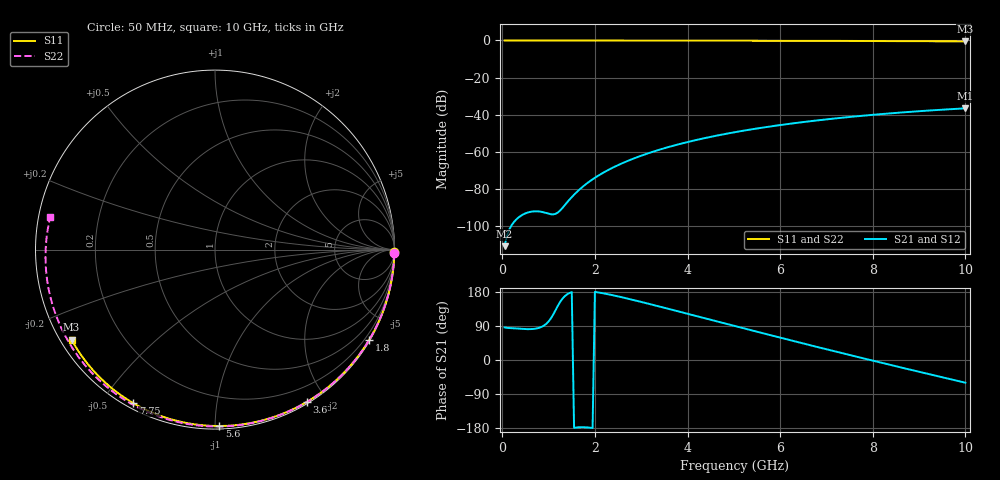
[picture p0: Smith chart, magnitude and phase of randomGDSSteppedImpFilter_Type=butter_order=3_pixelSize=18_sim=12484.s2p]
! freq	dB(S11)	phase(S11)	dB(S12)	phase(S12)
!  dB(S21)	phase(S21)	dB(S22)	phase(S22)
!S-par simulation data
#  GHz  S  DB  R 50
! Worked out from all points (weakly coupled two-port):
!   200 points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, 50 MHz to 10 GHz, reference 50 ohm
!   highest |S21| = -36.55 dB at 10 GHz (marker M1); lowest = -110.7 dB at 50 MHz (marker M2)
!   lowest |S11| = -0.5 dB at 10 GHz (marker M3), VSWR 34.54, Z = 1.57 - j14.4 ohm
!   |S11| at or under -10 dB: nowhere
!   |S22| runs from -0.6 to 0.0 dB; largest |S21 - S12| = 0
!   S11 on the Smith chart (normalised r, x): 50 MHz: open; 1.8 GHz: 0.03, -3.70; 3.6 GHz: 0.02, -1.77; 5.6 GHz: 0.02, -1.02; 7.75 GHz: 0.02, -0.60; 10 GHz: 0.03, -0.29
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0.05  -0.00 -0.8  -110.72 86.0  -110.72 86.0  -0.00 -1.1
0.45  -0.01 -7.6  -93.65 81.7  -93.65 81.7  -0.02 -10.2
0.8  -0.02 -13.6  -92.05 85.1  -92.05 85.1  -0.02 -18.1
1.2  -0.03 -20.3  -92.60 143.0  -92.60 143.0  -0.03 -27.1
1.65  -0.04 -27.8  -80.60 -177.5  -80.60 -177.5  -0.05 -37.0
1.7  -0.04 -28.6  -79.49 -177.2  -79.49 -177.2  -0.05 -38.0
1.75  -0.04 -29.4  -78.44 -177.3  -78.44 -177.3  -0.05 -39.1
1.8  -0.04 -30.2  -77.45 -177.6  -77.45 -177.6  -0.05 -40.2
2.1  -0.05 -35.1  -72.34 177.8  -72.34 177.8  -0.06 -46.7
2.5  -0.05 -41.6  -67.09 167.8  -67.09 167.8  -0.07 -55.1
2.9  -0.06 -48.0  -62.94 156.3  -62.94 156.3  -0.08 -63.4
3.4  -0.07 -55.9  -58.74 140.9  -58.74 140.9  -0.10 -73.5
3.6  -0.08 -59.0  -57.28 134.7  -57.28 134.7  -0.10 -77.5
4.3  -0.10 -69.6  -52.94 112.5  -52.94 112.5  -0.13 -91.0
5.05  -0.12 -80.7  -49.25 88.8  -49.25 88.8  -0.16 -104.9
5.6  -0.15 -88.6  -46.99 71.5  -46.99 71.5  -0.19 -114.7
6.15  -0.17 -96.3  -45.03 54.4  -45.03 54.4  -0.22 -124.4
6.7  -0.20 -103.9  -43.31 37.5  -43.31 37.5  -0.25 -133.9
7.75  -0.27 -118.1  -40.58 5.7  -40.58 5.7  -0.34 -151.8
8.35  -0.33 -126.0  -39.29 -12.1  -39.29 -12.1  -0.39 -162.1
9.2  -0.41 -137.3  -37.73 -36.9  -37.73 -36.9  -0.49 -176.8
10  -0.50 -147.9  -36.55 -59.9  -36.55 -59.9  -0.58 168.8
